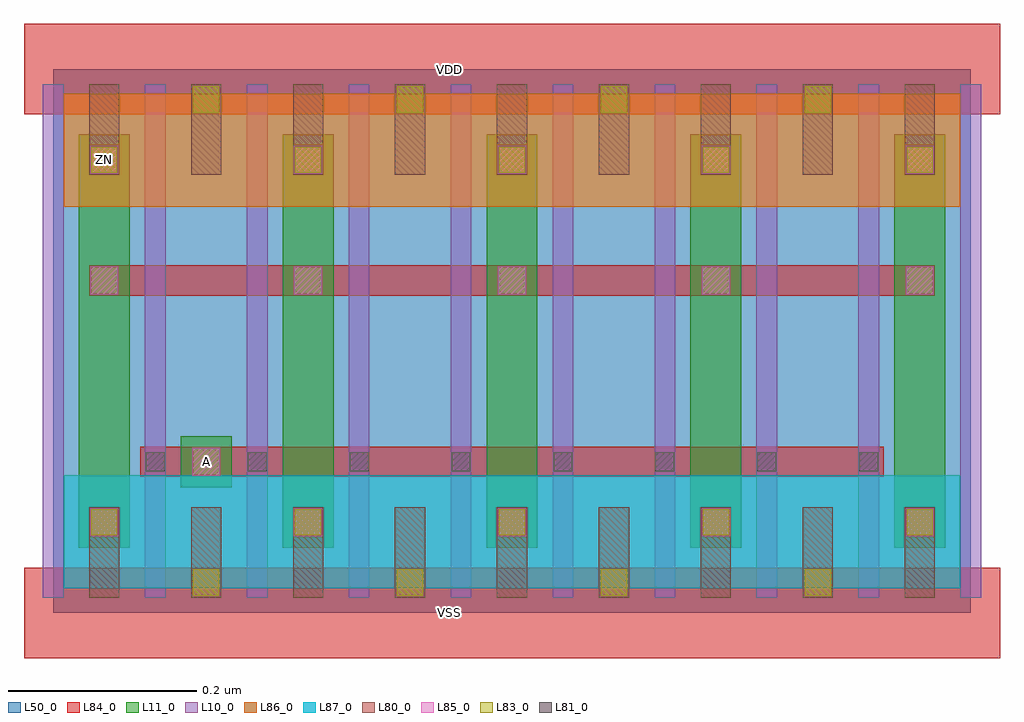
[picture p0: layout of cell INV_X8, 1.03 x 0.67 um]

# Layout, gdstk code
import gdstk
lib = gdstk.Library(unit=1e-6, precision=1e-09)
def R(c, l, rs):  # rectangles x0, y0, x1, y1
    for r in rs: c.add(gdstk.rectangle(r[:2], r[2:], *l))
def A(c, l, x, y, w, h, nx, ny, dx, dy):  # array of equal rectangles
    R(c, l, [(x+i*dx, y+j*dy, x+i*dx+w, y+j*dy+h) for i in range(nx) for j in range(ny)])
L10_0 = (10, 0)
L11_0 = (11, 0)
L50_0 = (50, 0)
L80_0 = (80, 0)
L81_0 = (81, 0)
L83_0 = (83, 0)
L84_0 = (84, 0)
L85_0 = (85, 0)
L86_0 = (86, 0)
L87_0 = (87, 0)

inv_x8 = lib.new_cell('INV_X8')
A(inv_x8, L10_0, -0.011, 0.016, 0.022, 0.544, 5, 1, 0.108, 0)
A(inv_x8, L10_0, 0.529, 0.016, 0.022, 0.544, 5, 1, 0.108, 0)
R(inv_x8, L10_0, [(0.421,0.016,0.443,0.56), (0.529,0.016,0.551,0.56)])
A(inv_x8, L11_0, 0.027, 0.069, 0.054, 0.438, 3, 1, 0.216, 0)
A(inv_x8, L11_0, 0.459, 0.069, 0.054, 0.438, 3, 1, 0.216, 0)
R(inv_x8, L11_0, [(0.135,0.133,0.189,0.187)])
R(inv_x8, L50_0, [(0,0,0.972,0.576)])
A(inv_x8, L80_0, 0.038, 0.016, 0.032, 0.096, 5, 2, 0.108, 0.448)
A(inv_x8, L80_0, 0.47, 0.016, 0.032, 0.096, 5, 2, 0.108, 0.448)
A(inv_x8, L81_0, 0.098, 0.15, 0.02, 0.02, 8, 1, 0.108, 0)
A(inv_x8, L83_0, 0.148, 0.018, 0.028, 0.028, 4, 2, 0.216, 0.512)
A(inv_x8, L83_0, 0.04, 0.082, 0.028, 0.028, 3, 2, 0.216, 0.384)
A(inv_x8, L83_0, 0.472, 0.082, 0.028, 0.028, 3, 2, 0.216, 0.384)
A(inv_x8, L84_0, 0.038, 0.08, 0.032, 0.032, 3, 2, 0.216, 0.384)
A(inv_x8, L84_0, 0.47, 0.08, 0.032, 0.032, 3, 2, 0.216, 0.384)
R(inv_x8, L84_0, [(-0.031,-0.048,0.571,0.048), (0.401,-0.048,1.003,0.048), (0.092,0.144,0.448,0.176), (0.409,0.144,0.88,0.176), (0.038,0.336,0.502,0.368), (0.47,0.336,0.934,0.368), (-0.031,0.528,0.571,0.624), (0.401,0.528,1.003,0.624)])
A(inv_x8, L85_0, 0.039, 0.081, 0.03, 0.03, 3, 2, 0.216, 0.256)
A(inv_x8, L85_0, 0.471, 0.081, 0.03, 0.03, 3, 2, 0.216, 0.256)
A(inv_x8, L85_0, 0.039, 0.465, 0.03, 0.03, 3, 1, 0.216, 0)
A(inv_x8, L85_0, 0.471, 0.465, 0.03, 0.03, 3, 1, 0.216, 0)
R(inv_x8, L85_0, [(0.147,0.145,0.177,0.175)])
R(inv_x8, L86_0, [(0.011,0.43,0.529,0.55), (0.443,0.43,0.961,0.55)])
R(inv_x8, L87_0, [(0.011,0.026,0.529,0.146), (0.443,0.026,0.961,0.146)])
inv_x8.add(gdstk.Label('VSS', (0.42,0), layer=88, texttype=0))
inv_x8.add(gdstk.Label('VDD', (0.42,0.576), layer=88, texttype=0))
inv_x8.add(gdstk.Label('A', (0.162,0.16), layer=31, texttype=0))
inv_x8.add(gdstk.Label('ZN', (0.054,0.48), layer=31, texttype=0))

lib.write_gds('INV_X8.gds')
